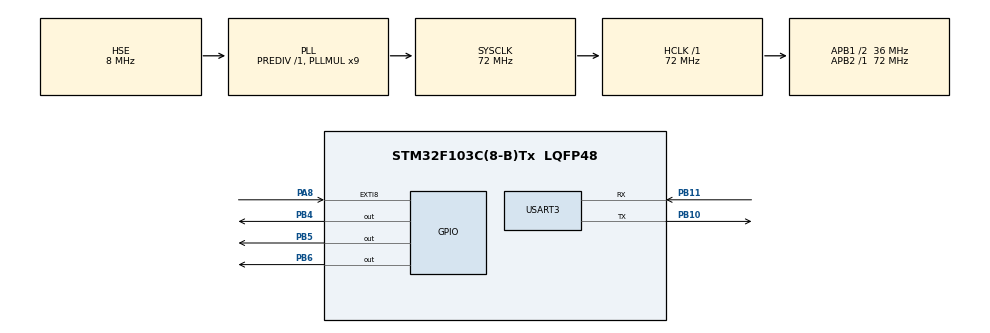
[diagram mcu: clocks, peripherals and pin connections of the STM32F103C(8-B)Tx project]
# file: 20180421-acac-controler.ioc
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Mcu.Family=STM32F1
Mcu.Name=STM32F103C(8-B)Tx
Mcu.Package=LQFP48
NVIC.EXTI9_5_IRQn=true\:0\:0\:false\:false\:true\:true
NVIC.PriorityGroup=NVIC_PRIORITYGROUP_4
NVIC.USART3_IRQn=true\:0\:0\:false\:false\:true\:true
PA13.Mode=Serial_Wire
PA13.Signal=SYS_JTMS-SWDIO
PA14.Mode=Serial_Wire
PA14.Signal=SYS_JTCK-SWCLK
PA8.Signal=GPXTI8
PB10.Mode=Asynchronous
PB10.Signal=USART3_TX
PB11.Mode=Asynchronous
PB11.Signal=USART3_RX
PB4.GPIO_Speed=GPIO_SPEED_FREQ_HIGH
PB4.Signal=GPIO_Output
PB5.GPIO_Speed=GPIO_SPEED_FREQ_HIGH
PB5.Signal=GPIO_Output
PB6.GPIO_Speed=GPIO_SPEED_FREQ_HIGH
PB6.Signal=GPIO_Output
PD0-OSC_IN.Mode=HSE-External-Oscillator
PD0-OSC_IN.Signal=RCC_OSC_IN
PD1-OSC_OUT.Mode=HSE-External-Oscillator
PD1-OSC_OUT.Signal=RCC_OSC_OUT
ProjectManager.HeapSize=0x200
ProjectManager.StackSize=0x400
ProjectManager.TargetToolchain=MDK-ARM V5
RCC.AHBFreq_Value=72000000
RCC.APB1CLKDivider=RCC_HCLK_DIV2
RCC.APB1Freq_Value=36000000
RCC.APB1TimFreq_Value=72000000
RCC.APB2Freq_Value=72000000
RCC.APB2TimFreq_Value=72000000
RCC.HCLKFreq_Value=72000000
RCC.PLLMUL=RCC_PLL_MUL9
RCC.PLLSourceVirtual=RCC_PLLSOURCE_HSE
RCC.SYSCLKFreq_VALUE=72000000
RCC.SYSCLKSource=RCC_SYSCLKSOURCE_PLLCLK
RCC.USBFreq_Value=72000000
USART3.VirtualMode=VM_ASYNC
board=20180421-acac-controler

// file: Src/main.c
/**
  ******************************************************************************
  * @file           : main.c
  * @brief          : Main program body
  ******************************************************************************
  ** This notice applies to any and all portions of this file
  * that are not between comment pairs USER CODE BEGIN and
  * USER CODE END. Other portions of this file, whether
  * inserted by the user or by software development tools
  * are owned by their respective copyright owners.
  *
  * COPYRIGHT(c) 2018 STMicroelectronics
  *
  * Redistribution and use in source and binary forms, with or without modification,
  * are permitted provided that the following conditions are met:
  *   1. Redistributions of source code must retain the above copyright notice,
  *      this list of conditions and the following disclaimer.
  *   2. Redistributions in binary form must reproduce the above copyright notice,
  *      this list of conditions and the following disclaimer in the documentation
  *      and/or other materials provided with the distribution.
  *   3. Neither the name of STMicroelectronics nor the names of its contributors
  *      may be used to endorse or promote products derived from this software
  *      without specific prior written permission.
  *
  * THIS SOFTWARE IS PROVIDED BY THE COPYRIGHT HOLDERS AND CONTRIBUTORS "AS IS"
  * AND ANY EXPRESS OR IMPLIED WARRANTIES, INCLUDING, BUT NOT LIMITED TO, THE
  * IMPLIED WARRANTIES OF MERCHANTABILITY AND FITNESS FOR A PARTICULAR PURPOSE ARE
  * DISCLAIMED. IN NO EVENT SHALL THE COPYRIGHT HOLDER OR CONTRIBUTORS BE LIABLE
  * FOR ANY DIRECT, INDIRECT, INCIDENTAL, SPECIAL, EXEMPLARY, OR CONSEQUENTIAL
  * DAMAGES (INCLUDING, BUT NOT LIMITED TO, PROCUREMENT OF SUBSTITUTE GOODS OR
  * SERVICES; LOSS OF USE, DATA, OR PROFITS; OR BUSINESS INTERRUPTION) HOWEVER
  * CAUSED AND ON ANY THEORY OF LIABILITY, WHETHER IN CONTRACT, STRICT LIABILITY,
  * OR TORT (INCLUDING NEGLIGENCE OR OTHERWISE) ARISING IN ANY WAY OUT OF THE USE
  * OF THIS SOFTWARE, EVEN IF ADVISED OF THE POSSIBILITY OF SUCH DAMAGE.
  *
  ******************************************************************************
  */
#include "main.h"
#include "stm32f1xx_hal.h"

/* USER CODE BEGIN Includes */
#include <stdlib.h>
/* USER CODE END Includes */

UART_HandleTypeDef huart3;

/* USER CODE BEGIN PV */
/* Private variables ---------------------------------------------------------*/
int hitung, geser, geser1, rx_index;
uint8_t rx_data, rx_buffer[20], ok;
char	dataku[5];
/* USER CODE END PV */

void SystemClock_Config(void);
static void MX_GPIO_Init(void);
static void MX_USART3_UART_Init(void);

/* USER CODE BEGIN PFP */
/* Private function prototypes -----------------------------------------------*/
void HAL_UART_RxCpltCallback(UART_HandleTypeDef *huart)
{
	HAL_UART_Receive_IT(&huart3,&rx_data,1);
	if(rx_data=='*')
		{
			rx_index=0;
			for(uint8_t i=1;i<=20;i++)
			{rx_buffer[i]=' ';}
		}

	rx_buffer[rx_index] = rx_data;

	if(++rx_index==16)
		rx_index=0;

}
/* USER CODE END PFP */

int main(void)
{
  /* USER CODE BEGIN 1 */
	geser=0;

  /* USER CODE END 1 */

  /* MCU Configuration----------------------------------------------------------*/

  /* Reset of all peripherals, Initializes the Flash interface and the Systick. */
  HAL_Init();

  /* Configure the system clock */
  SystemClock_Config();

  /* Initialize all configured peripherals */
  MX_GPIO_Init();
  MX_USART3_UART_Init();
  /* USER CODE BEGIN 2 */
	HAL_UART_Receive_IT(&huart3,&rx_data,1);

  /* USER CODE END 2 */

  /* Infinite loop */
  while (1)
  {

  /* USER CODE BEGIN 3 */
		if(ok)
		{geser=100-geser1;}
		if(hitung==geser)
		{
			HAL_GPIO_WritePin(GPIOB, GPIO_PIN_4, 1);
			HAL_GPIO_WritePin(GPIOB, GPIO_PIN_5, 1);
			HAL_GPIO_WritePin(GPIOB, GPIO_PIN_6, 1);
		}

		if(hitung==(geser+15))
		{
			HAL_GPIO_WritePin(GPIOB, GPIO_PIN_4, 0);
			HAL_GPIO_WritePin(GPIOB, GPIO_PIN_5, 0);
			HAL_GPIO_WritePin(GPIOB, GPIO_PIN_6, 0);
		}

		if(rx_buffer[0]=='*')
		{
			sprintf(dataku,"%c%c%c",rx_buffer[1],rx_buffer[2],rx_buffer[3]);
			geser1=atoi(dataku);
		}
		if(rx_buffer[0]=='#')
		{
			if(rx_buffer[2]=='N')
			{
				geser=100-geser1;
				ok=1;
			}
			if(rx_buffer[2]=='F')
			{
				geser=101;
				HAL_GPIO_WritePin(GPIOB, GPIO_PIN_4, 0);
				HAL_GPIO_WritePin(GPIOB, GPIO_PIN_5, 0);
				HAL_GPIO_WritePin(GPIOB, GPIO_PIN_6, 0);
				ok=0;
			}
		}

  }
  /* USER CODE END 3 */

}

void SystemClock_Config(void)
{

  RCC_OscInitTypeDef RCC_OscInitStruct;
  RCC_ClkInitTypeDef RCC_ClkInitStruct;

    /**Initializes the CPU, AHB and APB busses clocks
    */
  RCC_OscInitStruct.OscillatorType = RCC_OSCILLATORTYPE_HSE;
  RCC_OscInitStruct.HSEState = RCC_HSE_ON;
  RCC_OscInitStruct.HSEPredivValue = RCC_HSE_PREDIV_DIV1;
  RCC_OscInitStruct.HSIState = RCC_HSI_ON;
  RCC_OscInitStruct.PLL.PLLState = RCC_PLL_ON;
  RCC_OscInitStruct.PLL.PLLSource = RCC_PLLSOURCE_HSE;
  RCC_OscInitStruct.PLL.PLLMUL = RCC_PLL_MUL9;
  if (HAL_RCC_OscConfig(&RCC_OscInitStruct) != HAL_OK)
  {
    _Error_Handler(__FILE__, __LINE__);
  }

    /**Initializes the CPU, AHB and APB busses clocks
    */
  RCC_ClkInitStruct.ClockType = RCC_CLOCKTYPE_HCLK|RCC_CLOCKTYPE_SYSCLK
                              |RCC_CLOCKTYPE_PCLK1|RCC_CLOCKTYPE_PCLK2;
  RCC_ClkInitStruct.SYSCLKSource = RCC_SYSCLKSOURCE_PLLCLK;
  RCC_ClkInitStruct.AHBCLKDivider = RCC_SYSCLK_DIV1;
  RCC_ClkInitStruct.APB1CLKDivider = RCC_HCLK_DIV2;
  RCC_ClkInitStruct.APB2CLKDivider = RCC_HCLK_DIV1;

  if (HAL_RCC_ClockConfig(&RCC_ClkInitStruct, FLASH_LATENCY_2) != HAL_OK)
  {
    _Error_Handler(__FILE__, __LINE__);
  }

    /**Configure the Systick interrupt time
    */
  HAL_SYSTICK_Config(HAL_RCC_GetHCLKFreq()/10000);

    /**Configure the Systick
    */
  HAL_SYSTICK_CLKSourceConfig(SYSTICK_CLKSOURCE_HCLK);

  /* SysTick_IRQn interrupt configuration */
  HAL_NVIC_SetPriority(SysTick_IRQn, 0, 0);
}

/* USART3 init function */
static void MX_USART3_UART_Init(void)
{

  huart3.Instance = USART3;
  huart3.Init.BaudRate = 115200;
  huart3.Init.WordLength = UART_WORDLENGTH_8B;
  huart3.Init.StopBits = UART_STOPBITS_1;
  huart3.Init.Parity = UART_PARITY_NONE;
  huart3.Init.Mode = UART_MODE_TX_RX;
  huart3.Init.HwFlowCtl = UART_HWCONTROL_NONE;
  huart3.Init.OverSampling = UART_OVERSAMPLING_16;
  if (HAL_UART_Init(&huart3) != HAL_OK)
  {
    _Error_Handler(__FILE__, __LINE__);
  }

}

/** Configure pins as
        * Analog
        * Input
        * Output
        * EVENT_OUT
        * EXTI
*/
static void MX_GPIO_Init(void)
{

  GPIO_InitTypeDef GPIO_InitStruct;

  /* GPIO Ports Clock Enable */
  __HAL_RCC_GPIOD_CLK_ENABLE();
  __HAL_RCC_GPIOB_CLK_ENABLE();
  __HAL_RCC_GPIOA_CLK_ENABLE();

  /*Configure GPIO pin Output Level */
  HAL_GPIO_WritePin(GPIOB, GPIO_PIN_4|GPIO_PIN_5|GPIO_PIN_6, GPIO_PIN_RESET);

  /*Configure GPIO pin : PA8 */
  GPIO_InitStruct.Pin = GPIO_PIN_8;
  GPIO_InitStruct.Mode = GPIO_MODE_IT_RISING;
  GPIO_InitStruct.Pull = GPIO_NOPULL;
  HAL_GPIO_Init(GPIOA, &GPIO_InitStruct);

  /*Configure GPIO pins : PB4 PB5 PB6 */
  GPIO_InitStruct.Pin = GPIO_PIN_4|GPIO_PIN_5|GPIO_PIN_6;
  GPIO_InitStruct.Mode = GPIO_MODE_OUTPUT_PP;
  GPIO_InitStruct.Speed = GPIO_SPEED_FREQ_HIGH;
  HAL_GPIO_Init(GPIOB, &GPIO_InitStruct);

  /* EXTI interrupt init*/
  HAL_NVIC_SetPriority(EXTI9_5_IRQn, 0, 0);
  HAL_NVIC_EnableIRQ(EXTI9_5_IRQn);

}

void _Error_Handler(char *file, int line)
{
  while(1)
  {
  }
}

/************************ (C) COPYRIGHT STMicroelectronics *****END OF FILE****/
